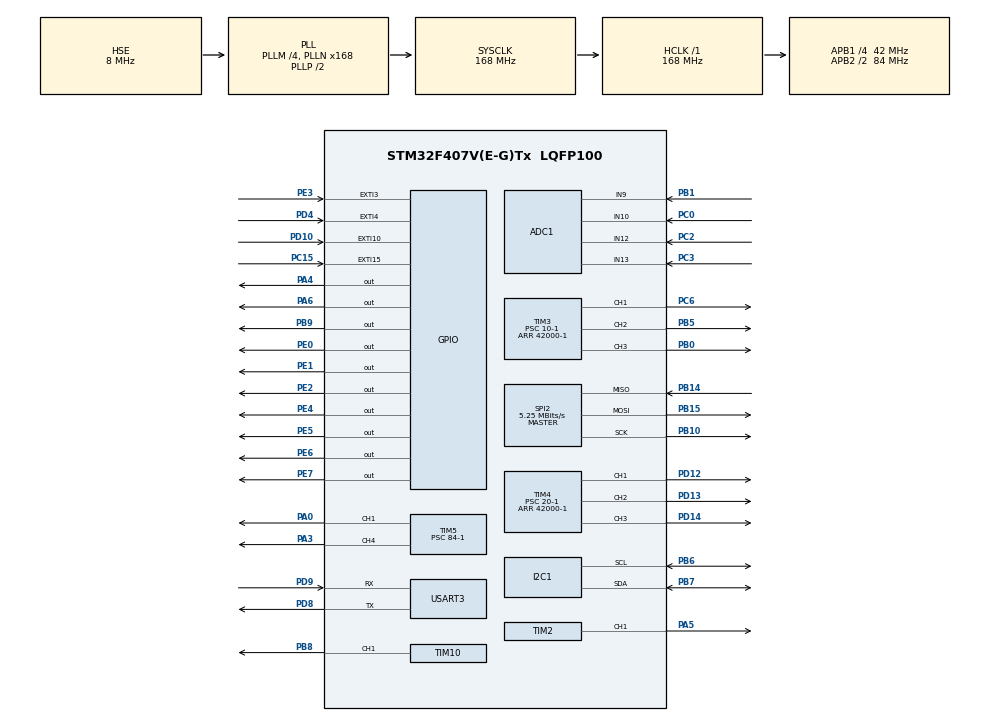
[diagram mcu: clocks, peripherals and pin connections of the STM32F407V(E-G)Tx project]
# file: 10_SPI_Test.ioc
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ADC1.Channel-0\#ChannelRegularConversion=ADC_CHANNEL_10
ADC1.Channel-1\#ChannelRegularConversion=ADC_CHANNEL_12
ADC1.Channel-2\#ChannelRegularConversion=ADC_CHANNEL_13
ADC1.Channel-3\#ChannelRegularConversion=ADC_CHANNEL_9
ADC1.ClockPrescaler=ADC_CLOCK_SYNC_PCLK_DIV4
ADC1.ContinuousConvMode=ENABLE
ADC1.DiscontinuousConvMode=DISABLE
ADC1.EOCSelection=ADC_EOC_SINGLE_CONV
ADC1.NbrOfConversion=4
ADC1.NbrOfConversionFlag=1
ADC1.Rank-0\#ChannelRegularConversion=1
ADC1.Rank-1\#ChannelRegularConversion=2
ADC1.Rank-2\#ChannelRegularConversion=3
ADC1.Rank-3\#ChannelRegularConversion=4
ADC1.SamplingTime-0\#ChannelRegularConversion=ADC_SAMPLETIME_84CYCLES
ADC1.SamplingTime-1\#ChannelRegularConversion=ADC_SAMPLETIME_84CYCLES
ADC1.SamplingTime-2\#ChannelRegularConversion=ADC_SAMPLETIME_84CYCLES
ADC1.SamplingTime-3\#ChannelRegularConversion=ADC_SAMPLETIME_3CYCLES
ADC1.ScanConvMode=ENABLE
ADC1.master=1
Dma.ADC1.0.Direction=DMA_PERIPH_TO_MEMORY
Dma.ADC1.0.FIFOMode=DMA_FIFOMODE_DISABLE
Dma.ADC1.0.Instance=DMA2_Stream0
Dma.ADC1.0.MemDataAlignment=DMA_MDATAALIGN_HALFWORD
Dma.ADC1.0.MemInc=DMA_MINC_ENABLE
Dma.ADC1.0.Mode=DMA_CIRCULAR
Dma.ADC1.0.PeriphDataAlignment=DMA_PDATAALIGN_HALFWORD
Dma.ADC1.0.PeriphInc=DMA_PINC_DISABLE
Dma.ADC1.0.Priority=DMA_PRIORITY_LOW
Dma.Request0=ADC1
I2C1.I2C_Mode=I2C_Fast
Mcu.Family=STM32F4
Mcu.Name=STM32F407V(E-G)Tx
Mcu.Package=LQFP100
NVIC.DMA2_Stream0_IRQn=true\:0\:0\:false\:false\:true\:false\:true\:true
NVIC.EXTI15_10_IRQn=true\:0\:0\:false\:false\:true\:true\:true\:true
NVIC.EXTI3_IRQn=true\:0\:0\:false\:false\:true\:true\:true\:true
NVIC.EXTI4_IRQn=true\:0\:0\:false\:false\:true\:true\:true\:true
NVIC.PriorityGroup=NVIC_PRIORITYGROUP_4
NVIC.TIM7_IRQn=true\:0\:0\:false\:true\:true\:2\:true\:true\:true
NVIC.USART3_IRQn=true\:0\:0\:false\:true\:true\:1\:true\:true\:true
PA0-WKUP.Signal=S_TIM5_CH1
PA3.Signal=S_TIM5_CH4
PA4.Signal=GPIO_Output
PA5.Signal=S_TIM2_CH1_ETR
PA6.Signal=GPIO_Output
PB0.Signal=S_TIM3_CH3
PB1.Signal=ADCx_IN9
PB10.Mode=Full_Duplex_Master
PB10.Signal=SPI2_SCK
PB14.Mode=Full_Duplex_Master
PB14.Signal=SPI2_MISO
PB15.Mode=Full_Duplex_Master
PB15.Signal=SPI2_MOSI
PB5.Signal=S_TIM3_CH2
PB6.Mode=I2C
PB6.Signal=I2C1_SCL
PB7.Mode=I2C
PB7.Signal=I2C1_SDA
PB8.Signal=S_TIM10_CH1
PB9.Signal=GPIO_Output
PC0.Signal=ADCx_IN10
PC15-OSC32_OUT.Signal=GPXTI15
PC2.Signal=ADCx_IN12
PC3.Signal=ADCx_IN13
PC6.Signal=S_TIM3_CH1
PD10.Signal=GPXTI10
PD12.Signal=S_TIM4_CH1
PD13.Signal=S_TIM4_CH2
PD14.Signal=S_TIM4_CH3
PD4.Signal=GPXTI4
PD8.Mode=Asynchronous
PD8.Signal=USART3_TX
PD9.Mode=Asynchronous
PD9.Signal=USART3_RX
PE0.Signal=GPIO_Output
PE1.Signal=GPIO_Output
PE2.Signal=GPIO_Output
PE3.Signal=GPXTI3
PE4.Signal=GPIO_Output
PE5.Signal=GPIO_Output
PE6.Signal=GPIO_Output
PE7.Signal=GPIO_Output
PH0-OSC_IN.Mode=HSE-External-Oscillator
PH0-OSC_IN.Signal=RCC_OSC_IN
PH1-OSC_OUT.Mode=HSE-External-Oscillator
PH1-OSC_OUT.Signal=RCC_OSC_OUT
ProjectManager.HeapSize=0x200
ProjectManager.StackSize=0x400
ProjectManager.TargetToolchain=STM32CubeIDE
RCC.48MHZClocksFreq_Value=84000000
RCC.AHBFreq_Value=168000000
RCC.APB1CLKDivider=RCC_HCLK_DIV4
RCC.APB1Freq_Value=42000000
RCC.APB1TimFreq_Value=84000000
RCC.APB2CLKDivider=RCC_HCLK_DIV2
RCC.APB2Freq_Value=84000000
RCC.APB2TimFreq_Value=168000000
RCC.CortexFreq_Value=168000000
RCC.HCLKFreq_Value=168000000
RCC.HSE_VALUE=8000000
RCC.HSI_VALUE=16000000
RCC.LSE_VALUE=32768
RCC.PLLM=4
RCC.PLLN=168
RCC.PLLSourceVirtual=RCC_PLLSOURCE_HSE
RCC.SYSCLKFreq_VALUE=168000000
RCC.SYSCLKSource=RCC_SYSCLKSOURCE_PLLCLK
RCC.VCOOutputFreq_Value=336000000
SH.ADCx_IN10.0=ADC1_IN10,IN10
SH.ADCx_IN12.0=ADC1_IN12,IN12
SH.ADCx_IN13.0=ADC1_IN13,IN13
SH.ADCx_IN9.0=ADC1_IN9,IN9
SH.S_TIM10_CH1.0=TIM10_CH1,PWM Generation1 CH1
SH.S_TIM2_CH1_ETR.0=TIM2_CH1,PWM Generation1 CH1
SH.S_TIM3_CH1.0=TIM3_CH1,PWM Generation1 CH1
SH.S_TIM3_CH2.0=TIM3_CH2,PWM Generation2 CH2
SH.S_TIM3_CH3.0=TIM3_CH3,PWM Generation3 CH3
SH.S_TIM4_CH1.0=TIM4_CH1,PWM Generation1 CH1
SH.S_TIM4_CH2.0=TIM4_CH2,PWM Generation2 CH2
SH.S_TIM4_CH3.0=TIM4_CH3,PWM Generation3 CH3
SH.S_TIM5_CH1.0=TIM5_CH1,PWM Generation1 CH1
SH.S_TIM5_CH4.0=TIM5_CH4,Output Compare4 CH4
SPI2.BaudRatePrescaler=SPI_BAUDRATEPRESCALER_8
SPI2.CLKPhase=SPI_PHASE_2EDGE
SPI2.CLKPolarity=SPI_POLARITY_HIGH
SPI2.CalculateBaudRate=5.25 MBits/s
SPI2.Direction=SPI_DIRECTION_2LINES
SPI2.Mode=SPI_MODE_MASTER
SPI2.VirtualType=VM_MASTER
TIM10.Channel=TIM_CHANNEL_1
TIM10.Period=10000-1
TIM10.Prescaler=336-1
TIM10.Pulse=100
TIM2.Channel-PWM\ Generation1\ CH1=TIM_CHANNEL_1
TIM2.Period=1000-1
TIM2.Prescaler=168-1
TIM2.Pulse-PWM\ Generation1\ CH1=500
TIM3.Channel-PWM\ Generation1\ CH1=TIM_CHANNEL_1
TIM3.Channel-PWM\ Generation2\ CH2=TIM_CHANNEL_2
TIM3.Channel-PWM\ Generation3\ CH3=TIM_CHANNEL_3
TIM3.Period=42000-1
TIM3.Prescaler=10-1
TIM3.Pulse-PWM\ Generation1\ CH1=21000-1
TIM3.Pulse-PWM\ Generation2\ CH2=10500-1
TIM3.Pulse-PWM\ Generation3\ CH3=5250-1
TIM4.Channel-PWM\ Generation1\ CH1=TIM_CHANNEL_1
TIM4.Channel-PWM\ Generation2\ CH2=TIM_CHANNEL_2
TIM4.Channel-PWM\ Generation3\ CH3=TIM_CHANNEL_3
TIM4.Period=42000-1
TIM4.Prescaler=20-1
TIM4.Pulse-PWM\ Generation1\ CH1=21000-1
TIM4.Pulse-PWM\ Generation2\ CH2=10500-1
TIM4.Pulse-PWM\ Generation3\ CH3=5250-1
TIM5.Channel-Output\ Compare4\ CH4=TIM_CHANNEL_4
TIM5.Channel-PWM\ Generation1\ CH1=TIM_CHANNEL_1
TIM5.Period=10000-1
TIM5.Prescaler=84-1
TIM5.Pulse-PWM\ Generation1\ CH1=5000
TIM7.Period=8399
TIM7.Prescaler=9999
USART3.VirtualMode=VM_ASYNC
VP_TIM10_VS_ClockSourceINT.Mode=Enable_Timer
VP_TIM2_VS_ClockSourceINT.Mode=Internal
VP_TIM3_VS_ClockSourceINT.Mode=Internal
VP_TIM4_VS_ClockSourceINT.Mode=Internal
VP_TIM5_VS_ClockSourceINT.Mode=Internal
VP_TIM7_VS_ClockSourceINT.Mode=Enable_Timer
board=custom

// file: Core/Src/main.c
/* USER CODE BEGIN Header */
/**
  ******************************************************************************
  * @file           : main.c
  * @brief          : Main program body
  ******************************************************************************
  * @attention
  *
  * Copyright (c) 2022 STMicroelectronics.
  * All rights reserved.
  *
  * This software is licensed under terms that can be found in the LICENSE file
  * in the root directory of this software component.
  * If no LICENSE file comes with this software, it is provided AS-IS.
  *
  ******************************************************************************
  */
/* USER CODE END Header */
#include "main.h"
#include "adc.h"
#include "dma.h"
#include "i2c.h"
#include "spi.h"
#include "tim.h"
#include "usart.h"
#include "gpio.h"

/* USER CODE BEGIN Includes */
#include <stdio.h>
#include "CLCD.h"
#include "7seg.h"
#include <math.h>
#include "VS1003.h"  //v/
#include "MP3Sample.h" //v/
/* USER CODE END Includes */

uint8_t rx3_data;

void SystemClock_Config(void);
static void MX_NVIC_Init(void);
/* USER CODE BEGIN PFP */
int _write(int file, char* p, int len)
{
	HAL_UART_Transmit(&huart3, p, len, 10);
	return len;
}
/* USER CODE END PFP */

int main(void)
{
  /* USER CODE BEGIN 1 */
	volatile uint16_t adcval[4];
  /* USER CODE END 1 */

  /* MCU Configuration--------------------------------------------------------*/

  /* Reset of all peripherals, Initializes the Flash interface and the Systick. */
  HAL_Init();

  /* Configure the system clock */
  SystemClock_Config();

  /* Initialize all configured peripherals */
  MX_GPIO_Init();
  MX_DMA_Init();
  MX_USART3_UART_Init();
  MX_TIM7_Init();
  MX_TIM3_Init();
  MX_TIM4_Init();
  MX_TIM10_Init();
  MX_TIM2_Init();
  MX_TIM5_Init();
  MX_ADC1_Init();
  MX_I2C1_Init();
  MX_SPI2_Init();

  /* Initialize interrupts */
  MX_NVIC_Init();
  /* USER CODE BEGIN 2 */
	HAL_GPIO_WritePin(GPIOC, GPIO_PIN_6, GPIO_PIN_SET);
	HAL_GPIO_WritePin(GPIOB, GPIO_PIN_0, GPIO_PIN_SET);
	HAL_GPIO_WritePin(GPIOB, GPIO_PIN_5, GPIO_PIN_SET);

	HAL_GPIO_WritePin(GPIOD, GPIO_PIN_12, GPIO_PIN_SET);
	HAL_GPIO_WritePin(GPIOD, GPIO_PIN_13, GPIO_PIN_SET);
	HAL_GPIO_WritePin(GPIOD, GPIO_PIN_14, GPIO_PIN_SET);

	HAL_UART_Receive_IT(&huart3, &rx3_data, 1);
	HAL_TIM_Base_Start_IT(&htim7);

	_7SEG_GPIO_Init();

	HAL_TIM_PWM_Start(&htim3, TIM_CHANNEL_1);
	HAL_TIM_PWM_Start(&htim3, TIM_CHANNEL_2);
	HAL_TIM_PWM_Start(&htim3, TIM_CHANNEL_3);

	HAL_TIM_PWM_Start(&htim4, TIM_CHANNEL_1);
	HAL_TIM_PWM_Start(&htim4, TIM_CHANNEL_2);
	HAL_TIM_PWM_Start(&htim4, TIM_CHANNEL_3);

	HAL_TIM_PWM_Start(&htim10, TIM_CHANNEL_1); //servo

	//HAL_TIM_PWM_Start(&htim2, TIM_CHANNEL_1); //buzzer

	HAL_TIM_PWM_Start(&htim5, TIM_CHANNEL_1); //DC
	HAL_TIM_PWM_Start(&htim5, TIM_CHANNEL_4); //DC

	//HAL_ADC_Start_DMA(&hadc1, &adcval[0], 4); //DMA

	//HAL_DAC_Start(&hdac, DAC_CHANNEL_1); //DAC

	TIM10->CCR1 = 1500;

	//부저 주파수 상승
	//TIM2->ARR = 500;
	//TIM2->CCR1 = TIM2->ARR / 2;

	// 시계방향 회전(DC)
	TIM5->CCR1 = 0;
	TIM5->CCR4 = 5000; // 0 ~ 10000 값에 비례하게 회전 속도제어

	VS1003_SPI_Init(); //v/
	VS1003_SoftReset(); //v/
  /* USER CODE END 2 */

  /* Infinite loop */
  /* USER CODE BEGIN WHILE */

	uint8_t a = 0;
	float f = 1.234;
	uint8_t str[20];
	uint16_t ccr = 0;
	uint16_t arr = 1000;
	uint8_t ud_flag = 0;
	uint16_t dacval = 0;
	uint8_t eeprom[10] = {0x00, 0x11, 0x22, 0x33, 0x44, 0x55, 0x66, 0x77, 0x88, 0x99};

	HAL_I2C_Mem_Write(&hi2c1, 0xA0, 0x00, I2C_MEMADD_SIZE_8BIT, &eeprom[0], 10, 10);

	HAL_Delay(3);

	for(int i = 0; i<10; i++) eeprom[i] = 0x00;

	HAL_I2C_Mem_Read(&hi2c1, 0xA0, 0x00, I2C_MEMADD_SIZE_8BIT, &eeprom[0], 10, 10);

	int i =0;
  while (1)
  {
	  if(MP3_DREQ == 1)
	  {
		  if(sizeof(MP3_DATA) > i)
		  {
			  VS1003_WriteData(&MP3_DATA[i]);
			  i += 32;
		  }
		  else
		  {

		  }
	  }
    /* USER CODE END WHILE */

  }
}

void SystemClock_Config(void)
{
  RCC_OscInitTypeDef RCC_OscInitStruct = {0};
  RCC_ClkInitTypeDef RCC_ClkInitStruct = {0};

  /** Configure the main internal regulator output voltage
  */
  __HAL_RCC_PWR_CLK_ENABLE();
  __HAL_PWR_VOLTAGESCALING_CONFIG(PWR_REGULATOR_VOLTAGE_SCALE1);

  /** Initializes the RCC Oscillators according to the specified parameters
  * in the RCC_OscInitTypeDef structure.
  */
  RCC_OscInitStruct.OscillatorType = RCC_OSCILLATORTYPE_HSE;
  RCC_OscInitStruct.HSEState = RCC_HSE_ON;
  RCC_OscInitStruct.PLL.PLLState = RCC_PLL_ON;
  RCC_OscInitStruct.PLL.PLLSource = RCC_PLLSOURCE_HSE;
  RCC_OscInitStruct.PLL.PLLM = 4;
  RCC_OscInitStruct.PLL.PLLN = 168;
  RCC_OscInitStruct.PLL.PLLP = RCC_PLLP_DIV2;
  RCC_OscInitStruct.PLL.PLLQ = 4;
  if (HAL_RCC_OscConfig(&RCC_OscInitStruct) != HAL_OK)
  {
    Error_Handler();
  }

  /** Initializes the CPU, AHB and APB buses clocks
  */
  RCC_ClkInitStruct.ClockType = RCC_CLOCKTYPE_HCLK|RCC_CLOCKTYPE_SYSCLK
                              |RCC_CLOCKTYPE_PCLK1|RCC_CLOCKTYPE_PCLK2;
  RCC_ClkInitStruct.SYSCLKSource = RCC_SYSCLKSOURCE_PLLCLK;
  RCC_ClkInitStruct.AHBCLKDivider = RCC_SYSCLK_DIV1;
  RCC_ClkInitStruct.APB1CLKDivider = RCC_HCLK_DIV4;
  RCC_ClkInitStruct.APB2CLKDivider = RCC_HCLK_DIV2;

  if (HAL_RCC_ClockConfig(&RCC_ClkInitStruct, FLASH_LATENCY_5) != HAL_OK)
  {
    Error_Handler();
  }
}

/**
  * @brief NVIC Configuration.
  * @retval None
  */
static void MX_NVIC_Init(void)
{
  /* USART3_IRQn interrupt configuration */
  HAL_NVIC_SetPriority(USART3_IRQn, 0, 0);
  HAL_NVIC_EnableIRQ(USART3_IRQn);
  /* TIM7_IRQn interrupt configuration */
  HAL_NVIC_SetPriority(TIM7_IRQn, 0, 0);
  HAL_NVIC_EnableIRQ(TIM7_IRQn);
}

/* USER CODE BEGIN 4 */
void HAL_UART_RxCpltCallback(UART_HandleTypeDef *huart)
{
	if(huart->Instance == USART3)
	{
		HAL_UART_Receive_IT(&huart3, &rx3_data, 1);
		HAL_UART_Transmit(&huart3, &rx3_data, 1, 10);
	}
}

void HAL_TIM_PeriodElapsedCallback(TIM_HandleTypeDef *htim)
{
	static unsigned char cnt = 0;
	if(htim->Instance == TIM7)
	{

		cnt++;
	}
}

//외부 인터럽트가 걸리면 이 함수 호출
//함수 안에서 어떤 스위치가 눌렸는지 구분
void HAL_GPIO_EXTI_Callback(uint16_t GPIO_Pin)
{
	if(GPIO_Pin == GPIO_PIN_3)
	{
		HAL_GPIO_TogglePin(GPIOD, GPIO_PIN_12);
	}
	if(GPIO_Pin == GPIO_PIN_15)
	{
		HAL_GPIO_TogglePin(GPIOD, GPIO_PIN_13);

	}
	if(GPIO_Pin == GPIO_PIN_4)
	{
		HAL_GPIO_TogglePin(GPIOD, GPIO_PIN_14);

	}
	if(GPIO_Pin == GPIO_PIN_10)
	{
		HAL_GPIO_TogglePin(GPIOB, GPIO_PIN_0);
	}
}
/* USER CODE END 4 */

void Error_Handler(void)
{
  __disable_irq();
  while (1)
  {
  }
}
